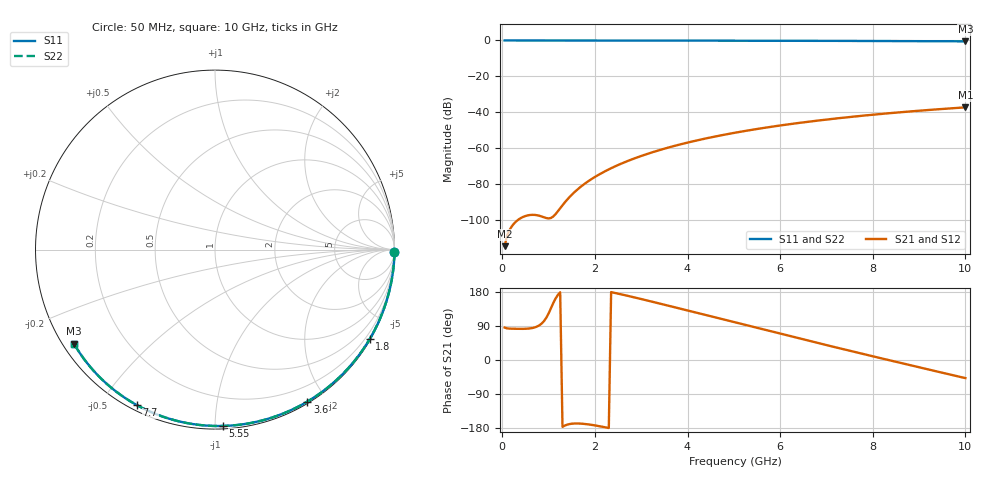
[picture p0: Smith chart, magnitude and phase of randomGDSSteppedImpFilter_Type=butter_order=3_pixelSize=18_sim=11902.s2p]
! freq	dB(S11)	phase(S11)	dB(S12)	phase(S12)
!  dB(S21)	phase(S21)	dB(S22)	phase(S22)
!S-par simulation data
#  GHz  S  DB  R 50
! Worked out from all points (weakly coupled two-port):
!   200 points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, 50 MHz to 10 GHz, reference 50 ohm
!   highest |S21| = -37.31 dB at 10 GHz (marker M1); lowest = -114.7 dB at 50 MHz (marker M2)
!   lowest |S11| = -0.5 dB at 10 GHz (marker M3), VSWR 35.17, Z = 1.55 - j15.1 ohm
!   |S11| at or under -10 dB: nowhere
!   |S22| runs from -0.5 to 0.0 dB; largest |S21 - S12| = 0
!   S11 on the Smith chart (normalised r, x): 50 MHz: open; 1.8 GHz: 0.03, -3.71; 3.6 GHz: 0.02, -1.78; 5.55 GHz: 0.02, -1.05; 7.7 GHz: 0.02, -0.62; 10 GHz: 0.03, -0.30
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0.05  -0.00 -0.9  -114.71 85.6  -114.71 85.6  -0.00 -0.9
0.45  -0.01 -7.7  -98.38 82.2  -98.38 82.2  -0.01 -7.7
0.9  -0.02 -15.2  -98.60 102.6  -98.60 102.6  -0.02 -15.2
1.3  -0.03 -21.9  -91.88 -176.4  -91.88 -176.4  -0.03 -21.9
1.75  -0.04 -29.3  -80.46 -168.4  -80.46 -168.4  -0.04 -29.3
1.8  -0.04 -30.1  -79.51 -169.0  -79.51 -169.0  -0.04 -30.1
1.95  -0.04 -32.6  -76.90 -171.6  -76.90 -171.6  -0.04 -32.6
2.1  -0.04 -35.0  -74.60 -174.7  -74.60 -174.7  -0.04 -35.0
2.3  -0.05 -38.3  -71.87 -179.6  -71.87 -179.6  -0.05 -38.3
2.5  -0.05 -41.5  -69.46 175.2  -69.46 175.2  -0.05 -41.5
2.9  -0.06 -47.8  -65.32 163.8  -65.32 163.8  -0.06 -47.8
3.4  -0.07 -55.7  -61.09 148.9  -61.09 148.9  -0.07 -55.7
3.6  -0.08 -58.8  -59.61 142.9  -59.61 142.9  -0.08 -58.7
4.3  -0.10 -69.3  -55.17 121.4  -55.17 121.4  -0.10 -69.3
5.05  -0.12 -80.3  -51.33 98.4  -51.33 98.4  -0.12 -80.3
5.55  -0.14 -87.5  -49.16 83.1  -49.16 83.1  -0.14 -87.5
6.1  -0.17 -95.1  -47.05 66.4  -47.05 66.4  -0.17 -95.1
6.7  -0.20 -103.3  -45.03 48.3  -45.03 48.3  -0.20 -103.3
7.7  -0.27 -116.6  -42.17 18.6  -42.17 18.6  -0.27 -116.6
8.35  -0.32 -125.1  -40.58 -0.4  -40.58 -0.4  -0.32 -125.1
9.2  -0.40 -136.0  -38.77 -24.9  -38.77 -24.9  -0.40 -136.0
10  -0.49 -146.3  -37.31 -47.8  -37.31 -47.8  -0.49 -146.3
